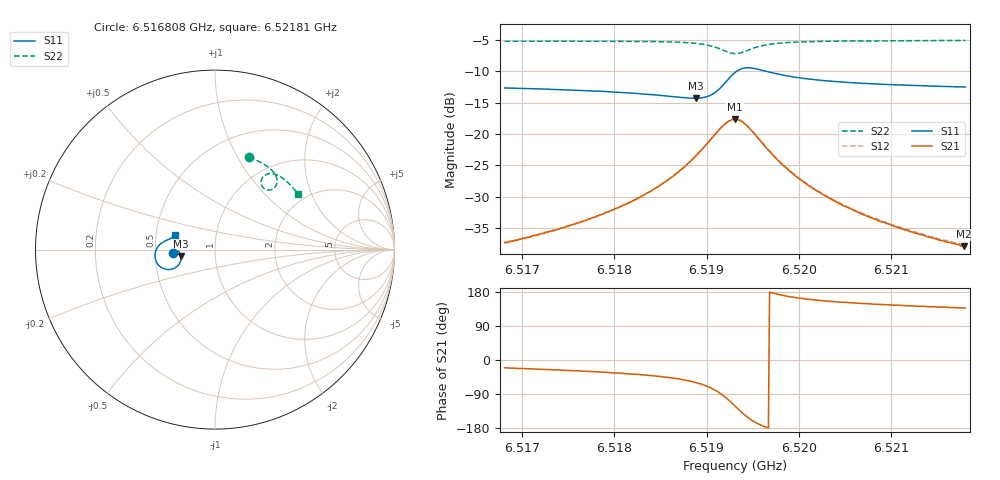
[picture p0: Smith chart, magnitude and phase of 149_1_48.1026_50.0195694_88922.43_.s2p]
#  HZ  S  RI  R  50.00
! Rohde & Schwarz Vector Network Analyzer
! Rohde-Schwarz,ZNB20-2Port,1311601062101988,3.16
! Created: UTC 12/23/2023, 3:49:33 AM
! freq[Hz]  re:S11  im:S11  re:S21  im:S21  re:S12  im:S12  re:S22  im:S22
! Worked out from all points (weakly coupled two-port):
!   401 points, 6.516808 GHz to 6.52181 GHz, reference 50 ohm
!   highest |S21| = -17.67 dB at 6.519309 GHz (marker M1); lowest = -37.9 dB at 6.521798 GHz (marker M2)
!   lowest |S11| = -14.3 dB at 6.518884 GHz (marker M3), VSWR 1.48, Z = 34 - j2.54 ohm
!   |S11| at or under -10 dB: start of sweep to 6.519328 GHz; 6.519644 GHz to end of sweep
!   |S22| runs from -7.2 to -5.1 dB; largest |S21 - S12| = 0.004
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6.5168078e9  -0.2317 -0.0207  0.0128 -0.00482  0.0127 -0.00436  0.1897 0.5141
6.517158e9  -0.2282 -0.0152  0.0141 -0.00645  0.0144 -0.00582  0.2156 0.5041
6.5176457e9  -0.2219 -0.00896  0.0174 -0.00977  0.0177 -0.00919  0.2517 0.4873
6.5181335e9  -0.2127 -0.00611  0.0223 -0.0164  0.0229 -0.0156  0.2883 0.4653
6.5184837e9  -0.2028 -0.00982  0.0279 -0.0262  0.0289 -0.0255  0.3154 0.4433
6.5187213e9  -0.1942 -0.02  0.0324 -0.0402  0.0339 -0.0392  0.3334 0.4216
6.5188839e9  -0.1889 -0.0359  0.0339 -0.0574  0.0357 -0.0566  0.3437 0.3996
6.5189964e9  -0.1894 -0.0551  0.0301 -0.0762  0.0327 -0.0757  0.3461 0.3784
6.519084e9  -0.1973 -0.0763  0.0198 -0.0953  0.0228 -0.0953  0.341 0.3583
6.519209e9  -0.2358 -0.1074  -0.0195 -0.1197  -0.0161 -0.1212  0.3118 0.3333
6.5193091e9  -0.2906 -0.1039  -0.0686 -0.1114  -0.0657 -0.1142  0.2746 0.3398
6.5193591e9  -0.3144 -0.0865  -0.088 -0.0934  -0.0858 -0.0966  0.2615 0.3549
6.5194216e9  -0.3313 -0.0563  -0.0996 -0.0657  -0.0984 -0.069  0.2566 0.3775
6.5195342e9  -0.3307 -0.00858  -0.0939 -0.0248  -0.0939 -0.0278  0.2706 0.4085
6.5196468e9  -0.3152 0.0196  -0.0776 -0.00344  -0.0782 -0.00576  0.293 0.4212
6.5198969e9  -0.2848 0.0447  -0.0498 0.0112  -0.0506 0.00984  0.333 0.4205
6.520147e9  -0.2664 0.0535  -0.0346 0.0132  -0.0353 0.0123  0.3601 0.4088
6.5204722e9  -0.2521 0.0597  -0.0239 0.0126  -0.0248 0.012  0.3864 0.3908
6.5209849e9  -0.2379 0.0675  -0.0156 0.0108  -0.0162 0.0105  0.4193 0.361
6.5214102e9  -0.2296 0.0736  -0.0115 0.00956  -0.0122 0.00921  0.4424 0.3352
6.5217978e9  -0.2231 0.0788  -0.00935 0.00861  -0.00976 0.0085  0.461 0.3111
6.5218104e9  -0.2229 0.079  -0.00934 0.0087  -0.00975 0.00844  0.4615 0.3105
